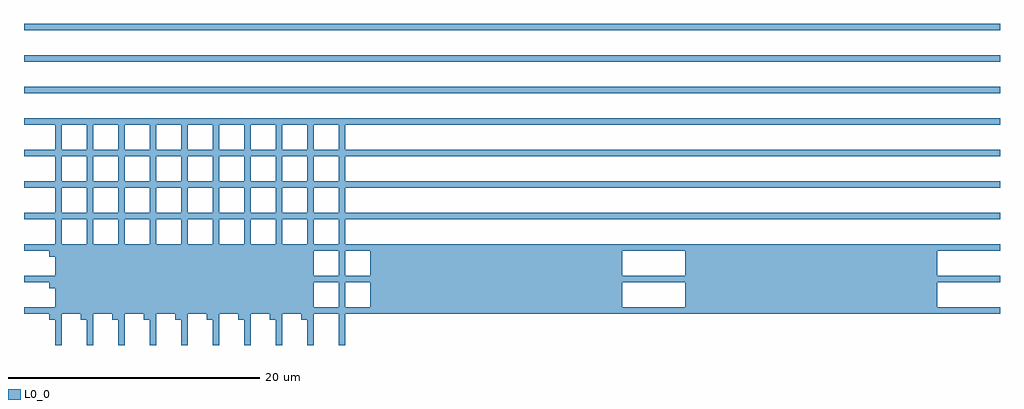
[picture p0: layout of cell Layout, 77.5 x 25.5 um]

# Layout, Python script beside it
import gdspy

# Create a new GDSII library
lib = gdspy.GdsLibrary()

# Create a new cell for our design
cell = lib.new_cell('Layout')

# Define dimensions and spacing
active_width = 20.0
active_height = 5.0
spacing = 5.0
poly_width = 0.5
contact_size = 1.0

# Draw three rectangular active regions
for i in range(3):
    x_offset = i * (active_width + spacing)
    active_region = gdspy.Rectangle(
        (x_offset, 0), 
        (x_offset + active_width, active_height)
    )
    cell.add(active_region)

# Create complex polysilicon gate pattern (grid-like structure)
num_lines = 10  # Number of lines across the pattern
pattern_spacing = 2.5  # Spacing between grid lines

# Vertical lines
for i in range(num_lines):
    x = i * pattern_spacing
    poly_line_v = gdspy.Rectangle(
        (x, -pattern_spacing), 
        (x + poly_width, active_height + 10)  # Cover active region and enough height for intersections
    )
    cell.add(poly_line_v)

# Horizontal lines
for j in range(num_lines):
    y = j * pattern_spacing
    poly_line_h = gdspy.Rectangle(
        (-pattern_spacing, y), 
        (3 * (active_width + spacing), y + poly_width)
    )
    cell.add(poly_line_h)

# Add contact holes at intersections of polysilicon grid and active regions
for i in range(num_lines):
    for j in range(num_lines):
        x_contact = i * pattern_spacing
        y_contact = j * pattern_spacing

        # Determine if contact point is within any active region bounds
        for k in range(3):
            x_offset = k * (active_width + spacing)
            if (x_offset <= x_contact <= (x_offset + active_width)) and (0 <= y_contact <= active_height):
                contact_hole = gdspy.Rectangle(
                    (x_contact - contact_size / 2, y_contact - contact_size / 2),
                    (x_contact + contact_size / 2, y_contact + contact_size / 2)
                )
                cell.add(contact_hole)

# Output the design to a GDSII file
lib.write_gds('layout_design.gds')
